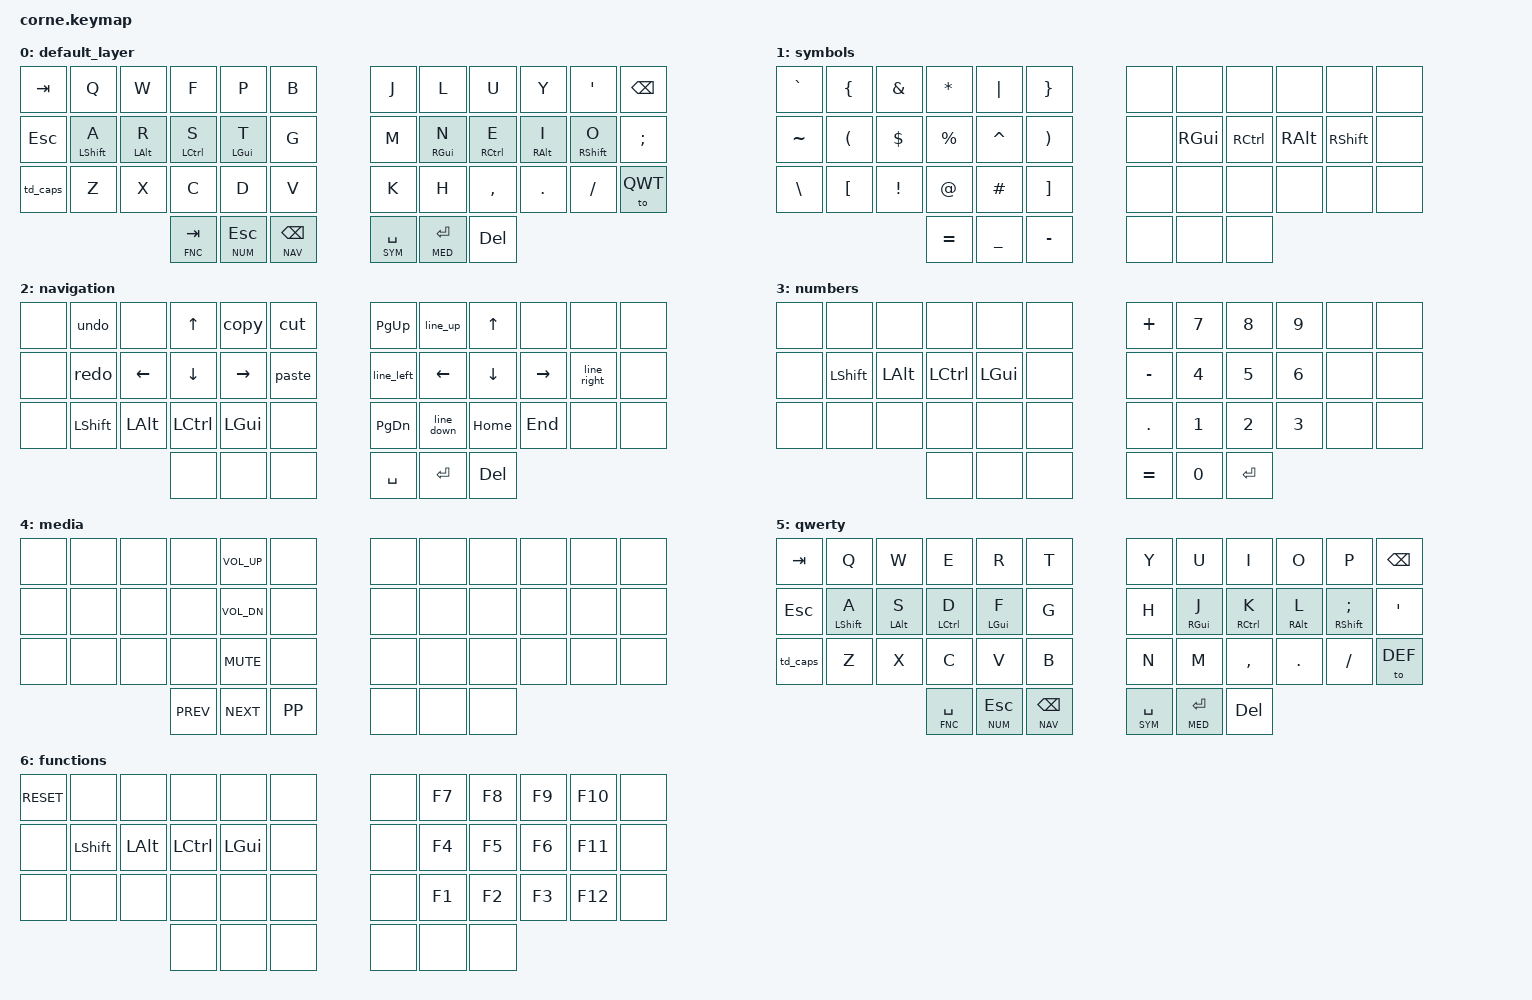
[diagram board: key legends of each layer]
/*
 * Copyright (c) 2020 The ZMK Contributors
 *
 * SPDX-License-Identifier: MIT
 */

#include <behaviors.dtsi>
#include <dt-bindings/zmk/keys.h>
#include <dt-bindings/zmk/bt.h>

#define DEF 0
#define SYM 1
#define NAV 2
#define NUM 3
#define MED 4
#define QWT 5
#define FNC 6

&mt {
        tapping-term-ms = <400>;
};

/ {
        macros {
                line_up: line_up {
                        label = "line_up";
                        compatible = "zmk,behavior-macro";
                        #binding-cells = <0>;
                        bindings
                                = <&macro_press &kp LALT>
                                , <&macro_tap &kp UP>
                                , <&macro_release &kp LALT>
                                ;
                };
                line_down: line_down {
                        label = "line_down";
                        compatible = "zmk,behavior-macro";
                        #binding-cells = <0>;
                        bindings
                                = <&macro_press &kp LALT>
                                , <&macro_tap &kp DOWN>
                                , <&macro_release &kp LALT>
                                ;
                };
                line_left: line_left {
                        label = "line_left";
                        compatible = "zmk,behavior-macro";
                        #binding-cells = <0>;
                        bindings
                                = <&macro_press &kp LGUI>
                                , <&macro_tap &kp LBKT >
                                , <&macro_release &kp LGUI>
                                ;
                };
                line_right: line_right {
                        label = "line_right";
                        compatible = "zmk,behavior-macro";
                        #binding-cells = <0>;
                        bindings
                                = <&macro_press &kp LGUI>
                                , <&macro_tap &kp RBKT>
                                , <&macro_release &kp LGUI>
                                ;
                };
                copy: copy {
                        label = "copy";
                        compatible = "zmk,behavior-macro";
                        #binding-cells = <0>;
                        bindings
                                = <&macro_press &kp LGUI>
                                , <&macro_tap &kp C>
                                , <&macro_release &kp LGUI>
                                ;
                };
                paste: paste {
                        label = "paste";
                        compatible = "zmk,behavior-macro";
                        #binding-cells = <0>;
                        bindings
                                = <&macro_press &kp LGUI>
                                , <&macro_tap &kp V>
                                , <&macro_release &kp LGUI>
                                ;
                };
                cut: cut {
                        label = "cut";
                        compatible = "zmk,behavior-macro";
                        #binding-cells = <0>;
                        bindings
                                = <&macro_press &kp LGUI>
                                , <&macro_tap &kp X>
                                , <&macro_release &kp LGUI>
                                ;
                };
                undo: undo {
                        label = "undo";
                        compatible = "zmk,behavior-macro";
                        #binding-cells = <0>;
                        bindings
                                = <&macro_press &kp LGUI>
                                , <&macro_tap &kp Z>
                                , <&macro_release &kp LGUI>
                                ;
                };
                redo: redo {
                        label = "redo";
                        compatible = "zmk,behavior-macro";
                        #binding-cells = <0>;
                        bindings
                                = <&macro_press &kp LGUI &kp LSHFT>
                                , <&macro_tap &kp Z>
                                , <&macro_release &kp LGUI &kp LSHFT>
                                ;
                };
        };
        behaviors {
                hm: homerow_mods {
                        compatible = "zmk,behavior-hold-tap";
                        label = "HOMEROW_MODS";
                        #binding-cells = <2>;
                        tapping-term-ms = <200>;
                        quick-tap-ms = <120>;
                        flavor = "balanced";
                        bindings = <&kp>, <&kp>;
                };
                custom_lt: custom_layer_toggle {
                        compatible = "zmk,behavior-hold-tap";
                        label = "CUSTOM_LAYER_TOGGLE";
                        #binding-cells = <2>;
                        tapping-term-ms = <200>;
                        quick-tap-ms = <120>;
                        flavor = "balanced";
                        bindings = <&mo>, <&kp>;
                };
                td_caps: tap_dance_caps {
                        compatible = "zmk,behavior-tap-dance";
                        label = "TAP_DANCE_CAPS";
                        #binding-cells = <0>;
                        tapping-term-ms = <200>;
                        bindings = <&kp LSHFT>, <&kp CAPS>;
                };
      };
        keymap {
                compatible = "zmk,keymap";

                default_layer {
// -----------------------------------------------------------------------------------------
// |  TAB |  Q  |  W  |  F  |  P  |  B  |   |  J  |  L   |  U  |  Y  |  "  | BKSP |
// | ESC  |  A  |  R  |  S  |  T  |  G  |   |  M  |  N   |  E  |  I  |  O  |  :   |
// | SHFT |  Z  |  X  |  C  |  D  |  V  |   |  K  |  H   |  ,  |  .  |  /  | QWT  |
//       | TAB/FNC | ESC/NUM | BKSP/NAV |   | SPC/SYM | ENT/MSE  | DEL/MED |
                        bindings = <
   &kp TAB   &kp Q &kp W &kp F &kp P &kp B                       &kp J &kp L  &kp U     &kp Y   &kp SQT    &kp BSPC
   &kp ESC &hm LSHFT A &hm LALT R &hm LCTRL S &hm LGUI T &kp G   &kp M &hm RGUI N  &hm RCTRL E  &hm RALT I   &hm RSHFT O &kp SEMI
   &td_caps &kp Z &kp X &kp C &kp D &kp V                       &kp K &kp H  &kp COMMA &kp DOT &kp FSLH &to QWT
                  &custom_lt FNC TAB &custom_lt NUM ESC &custom_lt NAV BSPC         &custom_lt SYM SPACE &custom_lt MED ENTER  &kp DEL
                        >;
                };
                symbols {
// -----------------------------------------------------------------------------------------
// |  ` |  {  |  &  |  *  |  |  |  }  |   |  none  |  none   |  none  |  none  |  none  | none |
// |  ~ |  (  |  $  |  %  |  ^  |  )  |   |  none  |  RGUI   |  RCTRL |  RALT  |  RSHFT | none |
// |  \ |  [  |  !  |  @  |  #  |  ]  |   |  none  |  none   |  none  |  none  |  none  | none |
//                        | = | _ | - |   | none | none  | none |
                        bindings = <
   &kp GRAVE  &kp LBRC &kp AMPS &kp ASTRK &kp PIPE &kp RBRC   &none &none  &none  &none  &none  &none
   &kp TILDE &kp LPAR &kp DLLR &kp PRCNT &kp CARET &kp RPAR   &none &kp RGUI  &kp RCTRL  &kp RALT   &kp RSHFT &none
   &kp BSLH &kp LBKT &kp EXCL &kp AT &kp HASH &kp RBKT        &none &none  &none  &none  &none  &none
                         &kp EQUAL &kp UNDER &kp MINUS        &none &none &none
                        >;
                };
                navigation {
// -----------------------------------------------------------------------------------------
// |  none  |  UNDO   |  none  |   UP   |  COPY  | CUT  |   |  PGUP  |  LNUP  |   UP   |  none  |  none  | none |
// |  none  |  REDO   |  LEFT  |  DOWN  |  RIGHT | PASTE|   |  LNLT  |  LEFT  |  DOWN  |  RIGHT |  LNRT  | none |
// |  none  |  none   |  none  |  none  |  none  | none |   |  PGDWN |  LNDN  |  HOME  |  END   |  none  | none |
//                                 | none | none | none |   |  SPACE | ENTER  |  DEL   |
                        bindings = <
   &none  &undo  &none  &kp UP  &copy  &cut           &kp PG_UP  &line_up  &kp UP  &none  &none  &none
   &none  &redo  &kp LEFT  &kp DOWN  &kp RIGHT  &paste     &line_left &kp LEFT  &kp DOWN  &kp RIGHT  &line_right  &none 
   &none  &kp LSHFT  &kp LALT  &kp LCTRL   &kp LGUI  &none           &kp PG_DN &line_down  &kp HOME  &kp END  &none  &none
                                        &none  &none  &none          &kp SPACE  &kp ENTER  &kp DEL
                        >;
                };
                numbers {
// -----------------------------------------------------------------------------------------
// |  none  |  none   |  none  |  none  |  none  | none |   |    +   |    7   |    8   |    9   |  none  | none |
// |  none  |  LSHFT  |  LALT  |  LCTRL |  LGUI  | none |   |    -   |    4   |    5   |    6   |  none  | none |
// |  none  |  none   |  none  |  none  |  none  | none |   |    .   |    1   |    2   |    3   |  none  | none |
//                                 | none | none | none |   |    =   |    0   |  ENTER |
                        bindings = <
   &none  &none  &none  &none  &none  &none                  &kp PLUS  &kp N7  &kp N8  &kp N9  &none  &none
   &none  &kp LSHFT  &kp LALT  &kp LCTRL  &kp LGUI  &none    &kp MINUS  &kp N4  &kp N5  &kp N6  &none  &none
   &none  &none  &none  &none  &none  &none                  &kp DOT  &kp N1  &kp N2  &kp N3  &none  &none
                                &none  &none  &none          &kp EQUAL  &kp N0  &kp ENTER
                        >;
                };
                media {
// -----------------------------------------------------------------------------------------
// |  none  |  none   |  none  |  none  |  VOLUP | none |   |  none  |  none   |  none  |  none  |  none  | none |
// |  none  |  none   |  none  |  none  |  VOLDN | none |   |  none  |  none   |  none  |  none  |  none  | none |
// |  none  |  none   |  none  |  none  |  MUTE  | none |   |  none  |  none   |  none  |  none  |  none  | none |
//                                 | BACK | FWD  | PLAY |   | none | none  | none |
                        bindings = <
   &none  &none  &none  &none  &kp K_VOL_UP  &none    &none  &none  &none  &none  &none  &none
   &none  &none  &none  &none  &kp K_VOL_DN  &none    &none  &none  &none  &none  &none  &none
   &none  &none  &none  &none  &kp K_MUTE   &none    &none  &none  &none  &none  &none  &none
                        &kp K_PREV  &kp K_NEXT  &kp K_PP    &none  &none  &none
                        >;
                };
                qwerty {
// -----------------------------------------------------------------------------------------
// | TAB  |  Q  |  W  |  E  |  R  |  T  |   |  Y  |  U   |  I  |  O  |  P  | BKSP |
// | ESC  |  A  |  S  |  D  |  F  |  G  |   |  H  |  J   |  K  |  L  |  ;  |  '   |
// | SHFT |  Z  |  X  |  C  |  V  |  B  |   |  N  |  M   |  ,  |  .  |  /  | QWT  |
//       | TAB/FNC | ESC/NUM | BKSP/NAV |   | SPC/SYM | ENT/MSE  | DEL/MED |
                        bindings = <
   &kp TAB   &kp Q &kp W &kp E &kp R &kp T                       &kp Y &kp U  &kp I     &kp O   &kp P    &kp BSPC
   &kp ESC &hm LSHFT A &hm LALT S &hm LCTRL D &hm LGUI F &kp G   &kp H &hm RGUI J  &hm RCTRL K  &hm RALT L   &hm RSHFT SEMI &kp SQT 
   &td_caps &kp Z &kp X &kp C &kp V &kp B                       &kp N &kp M  &kp COMMA &kp DOT &kp FSLH &to DEF
                  &custom_lt FNC SPACE &custom_lt NUM ESC &custom_lt NAV BSPC         &custom_lt SYM SPACE &custom_lt MED ENTER  &kp DEL
                        >;
                };
                functions {
// -----------------------------------------------------------------------------------------
// |  RSET  |  none   |  none  |  none  |  none  | none |   |  none  |   F7    |   F8   |   F9   |   F10  | none |
// |  none  |  LSHFT  |  LALT  |  LCTRL |  LGUI  | none |   |  none  |   F4    |   F5   |   F6   |   F11  | none |
// |  none  |  none   |  none  |  none  |  none  | none |   |  none  |   F1    |   F2   |   F3   |   F12  | none |
//                                 | none | none | none |   | none | none  | none |
                        bindings = <
   &kp C_RESET  &none  &none  &none  &none  &none                  &none  &kp F7  &kp F8  &kp F9  &kp F10  &none
   &none  &kp LSHFT  &kp LALT  &kp LCTRL  &kp LGUI  &none          &none  &kp F4  &kp F5  &kp F6  &kp F11  &none
   &none  &none  &none  &none  &none  &none                        &none  &kp F1  &kp F2  &kp F3  &kp F12  &none
                        &none  &none  &none                        &none  &none  &none
                        >;
                };
        };
};
